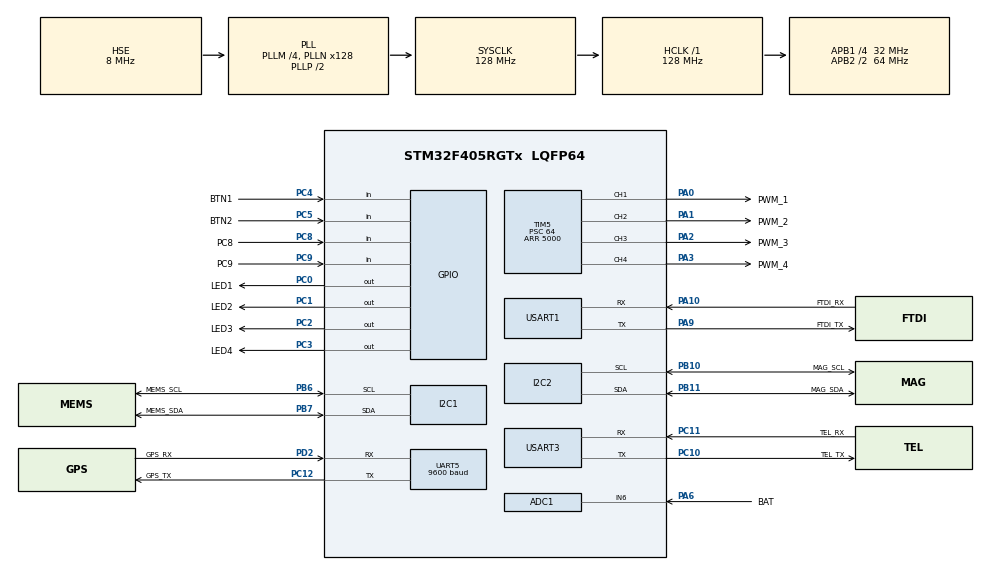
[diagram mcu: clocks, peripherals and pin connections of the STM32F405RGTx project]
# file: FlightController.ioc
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ADC1.Channel-0\#ChannelRegularConversion=ADC_CHANNEL_6
ADC1.ContinuousConvMode=ENABLE
ADC1.DMAContinuousRequests=ENABLE
ADC1.NbrOfConversionFlag=1
ADC1.Rank-0\#ChannelRegularConversion=1
ADC1.SamplingTime-0\#ChannelRegularConversion=ADC_SAMPLETIME_480CYCLES
ADC1.ScanConvMode=ENABLE
ADC1.master=1
Dma.ADC1.0.Direction=DMA_PERIPH_TO_MEMORY
Dma.ADC1.0.FIFOMode=DMA_FIFOMODE_DISABLE
Dma.ADC1.0.Instance=DMA2_Stream0
Dma.ADC1.0.MemDataAlignment=DMA_MDATAALIGN_HALFWORD
Dma.ADC1.0.MemInc=DMA_MINC_ENABLE
Dma.ADC1.0.Mode=DMA_CIRCULAR
Dma.ADC1.0.PeriphDataAlignment=DMA_PDATAALIGN_HALFWORD
Dma.ADC1.0.PeriphInc=DMA_PINC_DISABLE
Dma.ADC1.0.Priority=DMA_PRIORITY_LOW
Dma.Request0=ADC1
Dma.Request1=USART1_RX
Dma.Request2=USART3_RX
Dma.Request3=UART5_RX
Dma.UART5_RX.3.Direction=DMA_PERIPH_TO_MEMORY
Dma.UART5_RX.3.FIFOMode=DMA_FIFOMODE_DISABLE
Dma.UART5_RX.3.Instance=DMA1_Stream0
Dma.UART5_RX.3.MemDataAlignment=DMA_MDATAALIGN_BYTE
Dma.UART5_RX.3.MemInc=DMA_MINC_ENABLE
Dma.UART5_RX.3.Mode=DMA_NORMAL
Dma.UART5_RX.3.PeriphDataAlignment=DMA_PDATAALIGN_BYTE
Dma.UART5_RX.3.PeriphInc=DMA_PINC_DISABLE
Dma.UART5_RX.3.Priority=DMA_PRIORITY_LOW
Dma.USART1_RX.1.Direction=DMA_PERIPH_TO_MEMORY
Dma.USART1_RX.1.FIFOMode=DMA_FIFOMODE_DISABLE
Dma.USART1_RX.1.Instance=DMA2_Stream2
Dma.USART1_RX.1.MemDataAlignment=DMA_MDATAALIGN_BYTE
Dma.USART1_RX.1.MemInc=DMA_MINC_ENABLE
Dma.USART1_RX.1.Mode=DMA_NORMAL
Dma.USART1_RX.1.PeriphDataAlignment=DMA_PDATAALIGN_BYTE
Dma.USART1_RX.1.PeriphInc=DMA_PINC_DISABLE
Dma.USART1_RX.1.Priority=DMA_PRIORITY_LOW
Dma.USART3_RX.2.Direction=DMA_PERIPH_TO_MEMORY
Dma.USART3_RX.2.FIFOMode=DMA_FIFOMODE_DISABLE
Dma.USART3_RX.2.Instance=DMA1_Stream1
Dma.USART3_RX.2.MemDataAlignment=DMA_MDATAALIGN_BYTE
Dma.USART3_RX.2.MemInc=DMA_MINC_ENABLE
Dma.USART3_RX.2.Mode=DMA_NORMAL
Dma.USART3_RX.2.PeriphDataAlignment=DMA_PDATAALIGN_BYTE
Dma.USART3_RX.2.PeriphInc=DMA_PINC_DISABLE
Dma.USART3_RX.2.Priority=DMA_PRIORITY_LOW
FREERTOS.HEAP_NUMBER=4
FREERTOS.INCLUDE_vTaskDelayUntil=1
FREERTOS.Tasks01=defaultTask,0,128,StartDefaultTask,Default,NULL,Dynamic,NULL,NULL
I2C1.I2C_Mode=I2C_Fast
I2C2.I2C_Mode=I2C_Fast
Mcu.Family=STM32F4
Mcu.Name=STM32F405RGTx
Mcu.Package=LQFP64
NVIC.DMA1_Stream0_IRQn=true\:5\:0\:false\:false\:true\:true\:false\:true
NVIC.DMA1_Stream1_IRQn=true\:5\:0\:false\:false\:true\:true\:false\:true
NVIC.DMA2_Stream0_IRQn=true\:5\:0\:false\:false\:true\:true\:false\:true
NVIC.DMA2_Stream2_IRQn=true\:5\:0\:false\:false\:true\:true\:false\:true
NVIC.PriorityGroup=NVIC_PRIORITYGROUP_4
NVIC.TIM6_DAC_IRQn=true\:15\:0\:false\:false\:true\:false\:false\:true
NVIC.TimeBase=TIM6_DAC_IRQn
NVIC.TimeBaseIP=TIM6
NVIC.UART5_IRQn=true\:5\:0\:false\:false\:true\:true\:true\:true
NVIC.USART1_IRQn=true\:5\:0\:false\:false\:true\:true\:true\:true
NVIC.USART3_IRQn=true\:5\:0\:false\:false\:true\:true\:true\:true
PA0-WKUP.GPIO_Label=PWM_1
PA0-WKUP.Signal=S_TIM5_CH1
PA0-WKUP.Stacked=true
PA1.GPIO_Label=PWM_2
PA1.Signal=S_TIM5_CH2
PA10.GPIO_Label=FTDI_RX
PA10.Mode=Asynchronous
PA10.Signal=USART1_RX
PA13.Mode=Serial_Wire
PA13.Signal=SYS_JTMS-SWDIO
PA14.Mode=Serial_Wire
PA14.Signal=SYS_JTCK-SWCLK
PA2.GPIO_Label=PWM_3
PA2.Signal=S_TIM5_CH3
PA3.GPIO_Label=PWM_4
PA3.Signal=S_TIM5_CH4
PA6.GPIO_Label=BAT
PA6.Signal=ADCx_IN6
PA9.GPIO_Label=FTDI_TX
PA9.Mode=Asynchronous
PA9.Signal=USART1_TX
PB10.GPIO_Label=MAG_SCL
PB10.Mode=I2C
PB10.Signal=I2C2_SCL
PB11.GPIO_Label=MAG_SDA
PB11.Mode=I2C
PB11.Signal=I2C2_SDA
PB6.GPIO_Label=MEMS_SCL
PB6.Mode=I2C
PB6.Signal=I2C1_SCL
PB7.GPIO_Label=MEMS_SDA
PB7.Mode=I2C
PB7.Signal=I2C1_SDA
PC0.GPIO_Label=LED1
PC0.PinState=GPIO_PIN_SET
PC0.Signal=GPIO_Output
PC1.GPIO_Label=LED2
PC1.PinState=GPIO_PIN_SET
PC1.Signal=GPIO_Output
PC10.GPIO_Label=TEL_TX
PC10.Mode=Asynchronous
PC10.Signal=USART3_TX
PC11.GPIO_Label=TEL_RX
PC11.Mode=Asynchronous
PC11.Signal=USART3_RX
PC12.GPIO_Label=GPS_TX
PC12.Mode=Asynchronous
PC12.Signal=UART5_TX
PC2.GPIO_Label=LED3
PC2.PinState=GPIO_PIN_SET
PC2.Signal=GPIO_Output
PC3.GPIO_Label=LED4
PC3.PinState=GPIO_PIN_SET
PC3.Signal=GPIO_Output
PC4.GPIO_Label=BTN1
PC4.Signal=GPIO_Input
PC5.GPIO_Label=BTN2
PC5.Signal=GPIO_Input
PC8.GPIO_Label=PC8
PC8.Signal=GPIO_Input
PC9.GPIO_Label=PC9
PC9.Signal=GPIO_Input
PD2.GPIO_Label=GPS_RX
PD2.Mode=Asynchronous
PD2.Signal=UART5_RX
PH0-OSC_IN.Mode=HSE-External-Oscillator
PH0-OSC_IN.Signal=RCC_OSC_IN
PH1-OSC_OUT.Mode=HSE-External-Oscillator
PH1-OSC_OUT.Signal=RCC_OSC_OUT
ProjectManager.HeapSize=0x200
ProjectManager.StackSize=0x400
ProjectManager.TargetToolchain=Makefile
RCC.48MHZClocksFreq_Value=64000000
RCC.AHBFreq_Value=128000000
RCC.APB1CLKDivider=RCC_HCLK_DIV4
RCC.APB1Freq_Value=32000000
RCC.APB1TimFreq_Value=64000000
RCC.APB2CLKDivider=RCC_HCLK_DIV2
RCC.APB2Freq_Value=64000000
RCC.APB2TimFreq_Value=128000000
RCC.CortexFreq_Value=128000000
RCC.HCLKFreq_Value=128000000
RCC.HSE_VALUE=8000000
RCC.HSI_VALUE=16000000
RCC.LSE_VALUE=32768
RCC.PLLM=4
RCC.PLLN=128
RCC.PLLSourceVirtual=RCC_PLLSOURCE_HSE
RCC.SYSCLKFreq_VALUE=128000000
RCC.SYSCLKSource=RCC_SYSCLKSOURCE_PLLCLK
RCC.VCOOutputFreq_Value=256000000
SH.ADCx_IN6.0=ADC1_IN6,IN6
SH.S_TIM5_CH1.0=TIM5_CH1,PWM Generation1 CH1
SH.S_TIM5_CH2.0=TIM5_CH2,PWM Generation2 CH2
SH.S_TIM5_CH3.0=TIM5_CH3,PWM Generation3 CH3
SH.S_TIM5_CH4.0=TIM5_CH4,PWM Generation4 CH4
TIM5.AutoReloadPreload=TIM_AUTORELOAD_PRELOAD_DISABLE
TIM5.Channel-PWM\ Generation1\ CH1=TIM_CHANNEL_1
TIM5.Channel-PWM\ Generation2\ CH2=TIM_CHANNEL_2
TIM5.Channel-PWM\ Generation3\ CH3=TIM_CHANNEL_3
TIM5.Channel-PWM\ Generation4\ CH4=TIM_CHANNEL_4
TIM5.Period=5000
TIM5.Prescaler=64
UART5.BaudRate=9600
UART5.VirtualMode=Asynchronous
USART1.VirtualMode=VM_ASYNC
USART3.VirtualMode=VM_ASYNC
VP_FREERTOS_VS_CMSIS_V1.Mode=CMSIS_V1
VP_SYS_VS_tim6.Mode=TIM6
VP_TIM5_VS_ClockSourceINT.Mode=Internal
board=custom

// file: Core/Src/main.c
/* USER CODE BEGIN Header */
/**
 ******************************************************************************
 * @file           : main.c
 * @brief          : Main program body
 ******************************************************************************
 * @attention
 *
 * <h2><center>&copy; Copyright (c) 2022 STMicroelectronics.
 * All rights reserved.</center></h2>
 *
 * This software component is licensed by ST under BSD 3-Clause license,
 * the "License"; You may not use this file except in compliance with the
 * License. You may obtain a copy of the License at:
 *                        opensource.org/licenses/BSD-3-Clause
 *
 ******************************************************************************
 */
/* USER CODE END Header */
#include "main.h"

/* USER CODE BEGIN Includes */
#include "RemoteControl.h"
// FreeRTOS
#include "FreeRTOS.h"
#include "event_groups.h"
#include "queue.h"
#include "semphr.h"
#include "stdio.h"
#include "task.h"
#include "timers.h"
// MEMS
#include "PID_PWM.h"
#include "sensors.h"
/* USER CODE END Includes */

/* USER CODE BEGIN PD */
#define dt 0.004f
#define TUNE_PID 0

/* USER CODE END PD */

ADC_HandleTypeDef hadc1;
DMA_HandleTypeDef hdma_adc1;

I2C_HandleTypeDef hi2c1;
I2C_HandleTypeDef hi2c2;

TIM_HandleTypeDef htim5;

UART_HandleTypeDef huart5;
UART_HandleTypeDef huart1;
UART_HandleTypeDef huart3;
DMA_HandleTypeDef hdma_uart5_rx;
DMA_HandleTypeDef hdma_usart1_rx;
DMA_HandleTypeDef hdma_usart3_rx;

/* USER CODE BEGIN PV */
uint8_t count = 0;

TaskHandle_t DefaultTask;
TaskHandle_t LoopTask;
TaskHandle_t GpsTask;
TaskHandle_t ControlTask;
TaskHandle_t FeedbackTask;
TaskHandle_t CalibrationTask;

RingBuffer_t Ring;
Sensor_handle_t sensors;
ControlHandler_t Control;
ControlInit_t ControlInit;
PIDPWMHandle_t PID;

uint16_t AdcBatValue;

/* USER CODE END PV */

void SystemClock_Config(void);
static void MX_GPIO_Init(void);
static void MX_USART1_UART_Init(void);
static void MX_DMA_Init(void);
static void MX_ADC1_Init(void);
static void MX_I2C1_Init(void);
static void MX_I2C2_Init(void);
static void MX_TIM5_Init(void);
static void MX_USART3_UART_Init(void);
static void MX_UART5_Init(void);

/* USER CODE BEGIN PFP */
int _write(int file, char *outgoing, int len);
void Default_task(void *pvParameters);
void Loop_task(void *pvParameters);
void GPS_task(void *pvParameters);
void Control_task(void *pvParameters);
void Feedback_task(void *pvParameters);
void Calibration_task(void *pvParameters);

/// Support function
void check_motor_vibrations(void);
/* USER CODE END PFP */

int main(void) {

    /* MCU
     * Configuration--------------------------------------------------------*/

    /* Reset of all peripherals, Initializes the Flash interface and the
     * Systick. */
    HAL_Init();

    /* Configure the system clock */
    SystemClock_Config();

    /* Initialize all configured peripherals */
    MX_GPIO_Init();
    MX_DMA_Init();
    MX_ADC1_Init();
    MX_I2C1_Init();
    MX_I2C2_Init();
    MX_TIM5_Init();
    MX_USART1_UART_Init();
    MX_USART3_UART_Init();
    MX_UART5_Init();
    /* USER CODE BEGIN 2 */
    HAL_ADC_Start_DMA(&hadc1, (uint32_t *)&AdcBatValue, 1);
    HAL_TIM_PWM_Start(&htim5, TIM_CHANNEL_1);
    HAL_TIM_PWM_Start(&htim5, TIM_CHANNEL_2);
    HAL_TIM_PWM_Start(&htim5, TIM_CHANNEL_3);
    HAL_TIM_PWM_Start(&htim5, TIM_CHANNEL_4);
    htim5.Instance->CCR1 = 1000;
    htim5.Instance->CCR2 = 1000;
    htim5.Instance->CCR3 = 1000;
    htim5.Instance->CCR4 = 1000;
    HAL_Delay(200);
    // Init for Ring Buffer. Must be called first
    Ring.Ring1.enable = true;
    Ring.Ring2.enable = true;
    Ring.Ring3.enable = true;
    Ring.Ring1.hdma = &hdma_usart1_rx;
    Ring.Ring1.huart = &huart1;
    Ring.Ring2.hdma = &hdma_usart3_rx;
    Ring.Ring2.huart = &huart3;
    Ring.Ring3.hdma = &hdma_uart5_rx;
    Ring.Ring3.huart = &huart5;
    Ring.GetTime = xTaskGetTickCount;
    // Init for sensors
    sensors.hmchi2c = &hi2c2;
    sensors.mpuhi2c = &hi2c1;
    sensors.mshi2c = &hi2c1;
    sensors.gpsRing = &Ring.Ring3;
    sensors.msHandler.wait = vTaskDelay;
    // Init compass calibration
    // sensors.hmcHandler.OffsetScale.offset_x = -128;
    // sensors.hmcHandler.OffsetScale.offset_y = -160;
    // sensors.hmcHandler.OffsetScale.offset_z = 117;
    // sensors.hmcHandler.OffsetScale.scale_y = 1.051408;
    // sensors.hmcHandler.OffsetScale.scale_z = 1.149933;
    sensors.hmcHandler.OffsetScale.compass_cal_values[0] = -302;
    sensors.hmcHandler.OffsetScale.compass_cal_values[1] = 557;
    sensors.hmcHandler.OffsetScale.compass_cal_values[2] = -256;
    sensors.hmcHandler.OffsetScale.compass_cal_values[3] = 561;
    sensors.hmcHandler.OffsetScale.compass_cal_values[4] = -476;
    sensors.hmcHandler.OffsetScale.compass_cal_values[5] = 271;
    sensors.hmcHandler.OffsetScale.declination = 0;
    // Calibration value for gyroscope
    sensors.mpuHandler.GyroOffset.x = 125;
    sensors.mpuHandler.GyroOffset.y = 6;
    sensors.mpuHandler.GyroOffset.z = -46;
    // Calibration value for Accelerometer
    sensors.mpuHandler.AccOffset.x = 114;
    sensors.mpuHandler.AccOffset.y = -46;
    sensors.mpuHandler.AccOffset.z = 0;
    // Init for calibration Task
    sensors.Calibration.GetTime = &xTaskGetTickCount;
    sensors.Calibration.wait = &vTaskDelay;
    sensors.Calibration.waitUntil = &vTaskDelayUntil;
    sensors.Calibration.ThrustChannel = &Control.Control.JoyStick.Thrust;
    // Init for ADC Battery Voltage reading
    sensors.AdcBat = &AdcBatValue;
// Init for Remote Control
#if MOTOR_CONFIG == 0
    ControlInit.Mode = BLOCK_MODE;
#else
    ControlInit.Mode = MANUAL_MODE;
#endif
    ControlInit.SensorsParameter = &sensors.Angle;
    ControlInit.Serial = &Ring.Ring2;
    ControlInit.Joystick.Pitch = 1500;
    ControlInit.Joystick.Roll = 1500;
    ControlInit.Joystick.Yaw = 1500;
    ControlInit.Joystick.Thrust = 1000;
#if TUNE_PID == 0
    ControlInit.ControlPid.Pitch.P = 1.3;
    ControlInit.ControlPid.Pitch.I = 0.04;
    ControlInit.ControlPid.Pitch.D = 18.0;
    ControlInit.ControlPid.Roll.P = 1.3;
    ControlInit.ControlPid.Roll.I = 0.04;
    ControlInit.ControlPid.Roll.D = 18.0;
    ControlInit.ControlPid.Yaw.P = 4;
    ControlInit.ControlPid.Yaw.I = 0.02;
    ControlInit.ControlPid.Yaw.D = 0.0;
#else
#endif
    ControlInit.ControlPid.Pitch.MaxPID = 400;
    ControlInit.ControlPid.Roll.MaxPID = 400;
    ControlInit.ControlPid.Yaw.MaxPID = 400;
    // Initialize for PID
    PID.htim = &htim5;
    PID.Control = &Control.Control;
    PID.Angle = &sensors.mpuHandler;
    PID.Mode = &Control.Mode;
    // Calibration value Initialize
    Ring_Init(&Ring);
    // The Remote Control Function must be called after the Ring Init
    Control_Init(&Control, ControlInit);
    // Init function for the sensors
    sensors_init(&sensors);
    // Init PID
    PIDPWM_Init(&PID);

    if (sensors.status != SENSOR_OK) {
        HAL_GPIO_WritePin(LED4_GPIO_Port, LED4_Pin, 0);
        printf("Sensors error:%d\r\n", sensors.status);
        while (1)
            ;
    }
    HAL_GPIO_WritePin(LED3_GPIO_Port, LED3_Pin, 1);
    xTaskCreate(&Default_task, "Default", 512, NULL, 1, &DefaultTask);
    // Start Scheduler
    vTaskStartScheduler();
    /* USER CODE END 2 */

    /* We should never get here as control is now taken by the scheduler */
    /* Infinite loop */
    while (1) {

    }
}

void SystemClock_Config(void) {
    RCC_OscInitTypeDef RCC_OscInitStruct = {0};
    RCC_ClkInitTypeDef RCC_ClkInitStruct = {0};

    /** Configure the main internal regulator output voltage
     */
    __HAL_RCC_PWR_CLK_ENABLE();
    __HAL_PWR_VOLTAGESCALING_CONFIG(PWR_REGULATOR_VOLTAGE_SCALE1);
    /** Initializes the RCC Oscillators according to the specified parameters
     * in the RCC_OscInitTypeDef structure.
     */
    RCC_OscInitStruct.OscillatorType = RCC_OSCILLATORTYPE_HSE;
    RCC_OscInitStruct.HSEState = RCC_HSE_ON;
    RCC_OscInitStruct.PLL.PLLState = RCC_PLL_ON;
    RCC_OscInitStruct.PLL.PLLSource = RCC_PLLSOURCE_HSE;
    RCC_OscInitStruct.PLL.PLLM = 4;
    RCC_OscInitStruct.PLL.PLLN = 128;
    RCC_OscInitStruct.PLL.PLLP = RCC_PLLP_DIV2;
    RCC_OscInitStruct.PLL.PLLQ = 4;
    if (HAL_RCC_OscConfig(&RCC_OscInitStruct) != HAL_OK) {
        Error_Handler();
    }
    /** Initializes the CPU, AHB and APB buses clocks
     */
    RCC_ClkInitStruct.ClockType = RCC_CLOCKTYPE_HCLK | RCC_CLOCKTYPE_SYSCLK |
                                  RCC_CLOCKTYPE_PCLK1 | RCC_CLOCKTYPE_PCLK2;
    RCC_ClkInitStruct.SYSCLKSource = RCC_SYSCLKSOURCE_PLLCLK;
    RCC_ClkInitStruct.AHBCLKDivider = RCC_SYSCLK_DIV1;
    RCC_ClkInitStruct.APB1CLKDivider = RCC_HCLK_DIV4;
    RCC_ClkInitStruct.APB2CLKDivider = RCC_HCLK_DIV2;

    if (HAL_RCC_ClockConfig(&RCC_ClkInitStruct, FLASH_LATENCY_4) != HAL_OK) {
        Error_Handler();
    }
}

static void MX_ADC1_Init(void) {

    ADC_ChannelConfTypeDef sConfig = {0};

    /** Configure the global features of the ADC (Clock, Resolution, Data
     * Alignment and number of conversion)
     */
    hadc1.Instance = ADC1;
    hadc1.Init.ClockPrescaler = ADC_CLOCK_SYNC_PCLK_DIV2;
    hadc1.Init.Resolution = ADC_RESOLUTION_12B;
    hadc1.Init.ScanConvMode = ENABLE;
    hadc1.Init.ContinuousConvMode = ENABLE;
    hadc1.Init.DiscontinuousConvMode = DISABLE;
    hadc1.Init.ExternalTrigConvEdge = ADC_EXTERNALTRIGCONVEDGE_NONE;
    hadc1.Init.ExternalTrigConv = ADC_SOFTWARE_START;
    hadc1.Init.DataAlign = ADC_DATAALIGN_RIGHT;
    hadc1.Init.NbrOfConversion = 1;
    hadc1.Init.DMAContinuousRequests = ENABLE;
    hadc1.Init.EOCSelection = ADC_EOC_SINGLE_CONV;
    if (HAL_ADC_Init(&hadc1) != HAL_OK) {
        Error_Handler();
    }
    /** Configure for the selected ADC regular channel its corresponding rank in
     * the sequencer and its sample time.
     */
    sConfig.Channel = ADC_CHANNEL_6;
    sConfig.Rank = 1;
    sConfig.SamplingTime = ADC_SAMPLETIME_480CYCLES;
    if (HAL_ADC_ConfigChannel(&hadc1, &sConfig) != HAL_OK) {
        Error_Handler();
    }
}

static void MX_I2C1_Init(void) {

    hi2c1.Instance = I2C1;
    hi2c1.Init.ClockSpeed = 400000;
    hi2c1.Init.DutyCycle = I2C_DUTYCYCLE_2;
    hi2c1.Init.OwnAddress1 = 0;
    hi2c1.Init.AddressingMode = I2C_ADDRESSINGMODE_7BIT;
    hi2c1.Init.DualAddressMode = I2C_DUALADDRESS_DISABLE;
    hi2c1.Init.OwnAddress2 = 0;
    hi2c1.Init.GeneralCallMode = I2C_GENERALCALL_DISABLE;
    hi2c1.Init.NoStretchMode = I2C_NOSTRETCH_DISABLE;
    if (HAL_I2C_Init(&hi2c1) != HAL_OK) {
        Error_Handler();
    }
}

static void MX_I2C2_Init(void) {

    hi2c2.Instance = I2C2;
    hi2c2.Init.ClockSpeed = 400000;
    hi2c2.Init.DutyCycle = I2C_DUTYCYCLE_2;
    hi2c2.Init.OwnAddress1 = 0;
    hi2c2.Init.AddressingMode = I2C_ADDRESSINGMODE_7BIT;
    hi2c2.Init.DualAddressMode = I2C_DUALADDRESS_DISABLE;
    hi2c2.Init.OwnAddress2 = 0;
    hi2c2.Init.GeneralCallMode = I2C_GENERALCALL_DISABLE;
    hi2c2.Init.NoStretchMode = I2C_NOSTRETCH_DISABLE;
    if (HAL_I2C_Init(&hi2c2) != HAL_OK) {
        Error_Handler();
    }
}

static void MX_TIM5_Init(void) {

    TIM_ClockConfigTypeDef sClockSourceConfig = {0};
    TIM_MasterConfigTypeDef sMasterConfig = {0};
    TIM_OC_InitTypeDef sConfigOC = {0};

    htim5.Instance = TIM5;
    htim5.Init.Prescaler = 64;
    htim5.Init.CounterMode = TIM_COUNTERMODE_UP;
    htim5.Init.Period = 5000;
    htim5.Init.ClockDivision = TIM_CLOCKDIVISION_DIV1;
    htim5.Init.AutoReloadPreload = TIM_AUTORELOAD_PRELOAD_DISABLE;
    if (HAL_TIM_Base_Init(&htim5) != HAL_OK) {
        Error_Handler();
    }
    sClockSourceConfig.ClockSource = TIM_CLOCKSOURCE_INTERNAL;
    if (HAL_TIM_ConfigClockSource(&htim5, &sClockSourceConfig) != HAL_OK) {
        Error_Handler();
    }
    if (HAL_TIM_PWM_Init(&htim5) != HAL_OK) {
        Error_Handler();
    }
    sMasterConfig.MasterOutputTrigger = TIM_TRGO_RESET;
    sMasterConfig.MasterSlaveMode = TIM_MASTERSLAVEMODE_DISABLE;
    if (HAL_TIMEx_MasterConfigSynchronization(&htim5, &sMasterConfig) !=
        HAL_OK) {
        Error_Handler();
    }
    sConfigOC.OCMode = TIM_OCMODE_PWM1;
    sConfigOC.Pulse = 0;
    sConfigOC.OCPolarity = TIM_OCPOLARITY_HIGH;
    sConfigOC.OCFastMode = TIM_OCFAST_DISABLE;
    if (HAL_TIM_PWM_ConfigChannel(&htim5, &sConfigOC, TIM_CHANNEL_1) !=
        HAL_OK) {
        Error_Handler();
    }
    if (HAL_TIM_PWM_ConfigChannel(&htim5, &sConfigOC, TIM_CHANNEL_2) !=
        HAL_OK) {
        Error_Handler();
    }
    if (HAL_TIM_PWM_ConfigChannel(&htim5, &sConfigOC, TIM_CHANNEL_3) !=
        HAL_OK) {
        Error_Handler();
    }
    if (HAL_TIM_PWM_ConfigChannel(&htim5, &sConfigOC, TIM_CHANNEL_4) !=
        HAL_OK) {
        Error_Handler();
    }
    HAL_TIM_MspPostInit(&htim5);
}

static void MX_UART5_Init(void) {

    huart5.Instance = UART5;
    huart5.Init.BaudRate = 9600;
    huart5.Init.WordLength = UART_WORDLENGTH_8B;
    huart5.Init.StopBits = UART_STOPBITS_1;
    huart5.Init.Parity = UART_PARITY_NONE;
    huart5.Init.Mode = UART_MODE_TX_RX;
    huart5.Init.HwFlowCtl = UART_HWCONTROL_NONE;
    huart5.Init.OverSampling = UART_OVERSAMPLING_16;
    if (HAL_UART_Init(&huart5) != HAL_OK) {
        Error_Handler();
    }
}

static void MX_USART1_UART_Init(void) {

    huart1.Instance = USART1;
    huart1.Init.BaudRate = 115200;
    huart1.Init.WordLength = UART_WORDLENGTH_8B;
    huart1.Init.StopBits = UART_STOPBITS_1;
    huart1.Init.Parity = UART_PARITY_NONE;
    huart1.Init.Mode = UART_MODE_TX_RX;
    huart1.Init.HwFlowCtl = UART_HWCONTROL_NONE;
    huart1.Init.OverSampling = UART_OVERSAMPLING_16;
    if (HAL_UART_Init(&huart1) != HAL_OK) {
        Error_Handler();
    }
}

static void MX_USART3_UART_Init(void) {

    huart3.Instance = USART3;
    huart3.Init.BaudRate = 115200;
    huart3.Init.WordLength = UART_WORDLENGTH_8B;
    huart3.Init.StopBits = UART_STOPBITS_1;
    huart3.Init.Parity = UART_PARITY_NONE;
    huart3.Init.Mode = UART_MODE_TX_RX;
    huart3.Init.HwFlowCtl = UART_HWCONTROL_NONE;
    huart3.Init.OverSampling = UART_OVERSAMPLING_16;
    if (HAL_UART_Init(&huart3) != HAL_OK) {
        Error_Handler();
    }
}

static void MX_DMA_Init(void) {
    /* DMA controller clock enable */
    __HAL_RCC_DMA2_CLK_ENABLE();
    __HAL_RCC_DMA1_CLK_ENABLE();

    /* DMA interrupt init */
    /* DMA1_Stream0_IRQn interrupt configuration */
    HAL_NVIC_SetPriority(DMA1_Stream0_IRQn, 5, 0);
    HAL_NVIC_EnableIRQ(DMA1_Stream0_IRQn);
    /* DMA1_Stream1_IRQn interrupt configuration */
    HAL_NVIC_SetPriority(DMA1_Stream1_IRQn, 5, 0);
    HAL_NVIC_EnableIRQ(DMA1_Stream1_IRQn);
    /* DMA2_Stream0_IRQn interrupt configuration */
    HAL_NVIC_SetPriority(DMA2_Stream0_IRQn, 5, 0);
    HAL_NVIC_EnableIRQ(DMA2_Stream0_IRQn);
    /* DMA2_Stream2_IRQn interrupt configuration */
    HAL_NVIC_SetPriority(DMA2_Stream2_IRQn, 5, 0);
    HAL_NVIC_EnableIRQ(DMA2_Stream2_IRQn);
}

static void MX_GPIO_Init(void) {
    GPIO_InitTypeDef GPIO_InitStruct = {0};

    /* GPIO Ports Clock Enable */
    __HAL_RCC_GPIOH_CLK_ENABLE();
    __HAL_RCC_GPIOC_CLK_ENABLE();
    __HAL_RCC_GPIOA_CLK_ENABLE();
    __HAL_RCC_GPIOB_CLK_ENABLE();
    __HAL_RCC_GPIOD_CLK_ENABLE();

    /*Configure GPIO pin Output Level */
    HAL_GPIO_WritePin(GPIOC, LED1_Pin | LED2_Pin | LED3_Pin | LED4_Pin,
                      GPIO_PIN_SET);

    /*Configure GPIO pins : LED1_Pin LED2_Pin LED3_Pin LED4_Pin */
    GPIO_InitStruct.Pin = LED1_Pin | LED2_Pin | LED3_Pin | LED4_Pin;
    GPIO_InitStruct.Mode = GPIO_MODE_OUTPUT_PP;
    GPIO_InitStruct.Pull = GPIO_NOPULL;
    GPIO_InitStruct.Speed = GPIO_SPEED_FREQ_LOW;
    HAL_GPIO_Init(GPIOC, &GPIO_InitStruct);

    /*Configure GPIO pins : BTN1_Pin BTN2_Pin PC8_Pin PC9_Pin */
    GPIO_InitStruct.Pin = BTN1_Pin | BTN2_Pin | PC8_Pin | PC9_Pin;
    GPIO_InitStruct.Mode = GPIO_MODE_INPUT;
    GPIO_InitStruct.Pull = GPIO_NOPULL;
    HAL_GPIO_Init(GPIOC, &GPIO_InitStruct);
}

/* USER CODE BEGIN 4 */
int _write(int file, char *outgoing, int len) {
    HAL_UART_Transmit(&huart1, (uint8_t *)outgoing, len, 100);
    return len;
}

void Default_task(void *pvParameters) {
    printf("*** Welcome to Flight Controller Software ***\r\n");
    // xTaskCreate(&GPS_task, "Gps", 512, NULL, 2, &GpsTask);
    xTaskCreate(&Loop_task, "Loop", 256, NULL, 4, &LoopTask);
    xTaskCreate(&Control_task, "Control", 512, NULL, 3, &ControlTask);
    xTaskCreate(&Feedback_task, "FeedBack", 256, NULL, 2, &FeedbackTask);
    vTaskDelete(DefaultTask);
    for (;;) {
    }
}

void Loop_task(void *pvParameters) {
    TickType_t StartTask = xTaskGetTickCount();
    uint32_t count = 0;
    for (;;) {
        count++;
        sensors_update(&sensors);
        PIDPWM_Process();
        if (sensors.status != SENSOR_OK) {
            printf("The Sensors error:%d\r\n", sensors.status);
        } else {
            if (count > 20) {
                count = 0;
                HAL_GPIO_TogglePin(LED3_GPIO_Port, LED3_Pin);
            } else {
            }
        }
#if MOTOR_CONFIG == 1
        check_motor_vibrations();
#endif
        // Detect calibration
        if (Control.Control.JoyStick.Thrust < 1020) {
            if (Control.Control.JoyStick.Yaw > 1900 &&
                Control.Control.JoyStick.Roll > 1800 &&
                Control.Control.JoyStick.Pitch > 1800) {
                xTaskCreate(&Calibration_task, "Calibration", 256, NULL, 3,
                            &CalibrationTask);
                vTaskSuspend(NULL);
                // Wait Until the calibration task resume this task again
                StartTask = xTaskGetTickCount();
            }
        }
        vTaskDelayUntil(&StartTask, 4);
    }
}

void GPS_task(void *pvParameters) {
    TickType_t StartTask = xTaskGetTickCount();
    for (;;) {
        if (Sensor_Gps_Update(&sensors) == SENSOR_OK) {
            GpsHandler_t GpsHandler = sensors.gpsHandler;
            HAL_GPIO_TogglePin(LED1_GPIO_Port, LED1_Pin);
            printf("Time:%dh %dm %ds\r\n", GpsHandler.Position.Time.Hour,
                   GpsHandler.Position.Time.Minute,
                   GpsHandler.Position.Time.Seconds);
            printf("Lat:%f, Long:%f, Fixed:%d, Satellites:%d\r\n",
                   GpsHandler.Position.Latitude, GpsHandler.Position.Longitude,
                   GpsHandler.Position.Fixed, GpsHandler.Position.Sattellites);
        } else if (sensors.gpsHandler.Status == GPS_NOTFIXED) {
            GpsHandler_t GpsHandler = sensors.gpsHandler;
            printf("Time:%dh %dm %ds\r\n", GpsHandler.Position.Time.Hour,
                   GpsHandler.Position.Time.Minute,
                   GpsHandler.Position.Time.Seconds);
        } else {
            printf("Error:%d\r\n", sensors.gpsHandler.Status);
        }
        HAL_GPIO_TogglePin(LED2_GPIO_Port, LED2_Pin);
        vTaskDelayUntil(&StartTask, 1000);
    }
}

void Control_task(void *pvParameters) {
    static int count = 0;
    TickType_t StartTask = xTaskGetTickCount();
    static int LostMonitoring = 0;
    for (;;) {
        ControlStatus_t Status = Control_Process();
        LostMonitoring++;
        if (Status == CONTROL_OK) {
            count++;
            if (count > 10) {
                count = 0;
                HAL_GPIO_TogglePin(LED2_GPIO_Port, LED2_Pin);
            }
            LostMonitoring = 0;
        }
        // Lost Connection decide
        if (LostMonitoring > 100 && Control.Mode != BLOCK_MODE) {
            Control.Mode = LOST_MODE;
        }
        vTaskDelayUntil(&StartTask, 10);
    }
}

void Feedback_task(void *pvParameters) {
    uint8_t AckId = 0;
    TickType_t StartTask = xTaskGetTickCount();
    vTaskDelay(200);
    for (;;) {
        if (AckId == 0) {
            Control_Feedback_Mode();
            AckId++;
        } else if (AckId == 1) {
            Control_Feedback_VBat();
            AckId++;
        } else if (AckId == 2) {
            Control_Feedback_Angle();
            AckId = 0;
        }
        vTaskDelayUntil(&StartTask, 200);
    }
}

void Calibration_task(void *pvParameters) {
    HAL_GPIO_WritePin(LED1_GPIO_Port, LED1_Pin | LED3_Pin | LED4_Pin,
                      GPIO_PIN_SET);
    printf("** In the calibration mode **\r\n");
    for (int i = 0; i < 10; i++) {
        HAL_GPIO_TogglePin(LED1_GPIO_Port, LED1_Pin);
        vTaskDelay(200);
    }
    for (;;) {
        // Gyro Calibration - Yaw right
        if (Control.Control.JoyStick.Thrust > 1800 &&
            Control.Control.JoyStick.Yaw < 1060) {  // Yaw right
            sensors.Calibration.StartTask = xTaskGetTickCount();
            HAL_GPIO_WritePin(LED1_GPIO_Port, LED1_Pin | LED3_Pin,
                              GPIO_PIN_SET);
            Sensor_Gyro_Calibration(&sensors);
            printf("* Gyro offset:x=%d,y=%d,z=%d\r\n",
                   sensors.mpuHandler.GyroOffset.x,
                   sensors.mpuHandler.GyroOffset.y,
                   sensors.mpuHandler.GyroOffset.z);
            HAL_GPIO_WritePin(LED1_GPIO_Port, LED1_Pin | LED3_Pin,
                              GPIO_PIN_SET);
            while (Control.Control.JoyStick.Thrust >= 1030) {
                HAL_GPIO_WritePin(LED1_GPIO_Port, LED1_Pin, GPIO_PIN_RESET);
                vTaskDelay(500);
                HAL_GPIO_WritePin(LED1_GPIO_Port, LED1_Pin, GPIO_PIN_SET);
                vTaskDelay(200);
            }
        }
        // Accelerometer Calibration - Roll right
        if (Control.Control.JoyStick.Thrust > 1800 &&
            Control.Control.JoyStick.Roll > 1900) {  // Roll right
            sensors.Calibration.StartTask = xTaskGetTickCount();
            HAL_GPIO_WritePin(LED1_GPIO_Port, LED1_Pin | LED3_Pin,
                              GPIO_PIN_SET);
            Sensor_Acce_Calibration(&sensors);
            HAL_GPIO_WritePin(LED1_GPIO_Port, LED1_Pin | LED3_Pin | LED4_Pin,
                              GPIO_PIN_SET);
            printf("* Accelerometer offset:x=%d,y=%d\r\n",
                   sensors.mpuHandler.AccOffset.x,
                   sensors.mpuHandler.AccOffset.y);
            while (Control.Control.JoyStick.Thrust >= 1030) {
                HAL_GPIO_WritePin(LED1_GPIO_Port, LED1_Pin, GPIO_PIN_RESET);
                vTaskDelay(1000);
                HAL_GPIO_WritePin(LED1_GPIO_Port, LED1_Pin, GPIO_PIN_SET);
                vTaskDelay(500);
            }
        }
        // Compass Calibration - Yaw left
        if (Control.Control.JoyStick.Thrust > 1800 &&
            Control.Control.JoyStick.Yaw > 1900) {  // Yaw left
            sensors.Calibration.StartTask = xTaskGetTickCount();
            HAL_GPIO_WritePin(LED1_GPIO_Port, LED1_Pin | LED3_Pin,
                              GPIO_PIN_SET);
            Sensor_Compass_Calibration(&sensors);
            HAL_GPIO_WritePin(LED1_GPIO_Port, LED1_Pin | LED3_Pin | LED4_Pin,
                              GPIO_PIN_SET);
            printf("* Compass:sy=%f,sz=%f,ox=%d,oy=%d,oz=%d\r\n",
                   sensors.hmcHandler.OffsetScale.scale_y,
                   sensors.hmcHandler.OffsetScale.scale_z,
                   sensors.hmcHandler.OffsetScale.offset_x,
                   sensors.hmcHandler.OffsetScale.offset_y,
                   sensors.hmcHandler.OffsetScale.offset_z);
            while (Control.Control.JoyStick.Thrust >= 1030) {
                HAL_GPIO_WritePin(LED1_GPIO_Port, LED1_Pin, GPIO_PIN_RESET);
                vTaskDelay(1000);
                HAL_GPIO_WritePin(LED1_GPIO_Port, LED1_Pin, GPIO_PIN_SET);
                vTaskDelay(500);
            }
        }
        if (Control.Control.JoyStick.Thrust < 1030 &&
            Control.Control.JoyStick.Yaw > 1900) {  // Yaw left
            HAL_GPIO_WritePin(LED1_GPIO_Port, LED1_Pin | LED3_Pin,
                              GPIO_PIN_SET);
            vTaskResume(LoopTask);
            vTaskDelete(CalibrationTask);
        }
        HAL_GPIO_TogglePin(LED1_GPIO_Port, LED1_Pin | LED3_Pin);
        vTaskDelay(200);
    }
}

void check_motor_vibrations(void) {
    // Let's declare some variables so we can use them in this subroutine.
    // int16_t = signed 16 bit integer
    // uint16_t = unsigned 16 bit integer
    static int32_t vibration_array[20], avarage_vibration_level,
        vibration_total_result;
    static uint8_t array_counter,
        vibration_counter;  // If the throttle is detected in the lowest
                            // position. Get the raw gyro and accelerometer
                            // data.
    // Calculate the total accelerometer vector.
    vibration_array[0] = sensors.mpuHandler.AccRaw.totalVector;

    for (array_counter = 16; array_counter > 0;
         array_counter--) {  // Do this loop 16 times to create an array of
                             // accelrometer vectors.
        vibration_array[array_counter] =
            vibration_array[array_counter - 1];  // Shift every variable one
                                                 // position up in the array.
        avarage_vibration_level +=
            vibration_array[array_counter];  // Add the array value to the
                                             // acc_av_vector variable.
    }
    avarage_vibration_level /= 17;  // Divide the acc_av_vector by 17 to get the
                                    // avarage total accelerometer vector.

    if (vibration_counter <
        20) {  // If the vibration_counter is less than 20 do this.
        vibration_counter++;  // Increment the vibration_counter variable.
        vibration_total_result +=
            abs(vibration_array[0] -
                avarage_vibration_level);  // Add the absolute difference
                                           // between the avarage vector and
                                           // current vector to the
                                           // vibration_total_result variable.
    } else {
        vibration_counter =
            0;  // If the vibration_counter is equal or larger than 20 do this.
        printf("Vibration=%ld\r\n", vibration_total_result / 50);
        vibration_total_result =
            0;  // Reset the vibration_total_result variable.
    }           // Print the intro to the serial monitor.
}
/* USER CODE END 4 */

void HAL_TIM_PeriodElapsedCallback(TIM_HandleTypeDef *htim) {
    if (htim->Instance == TIM6) {
        HAL_IncTick();
    }
}

void Error_Handler(void) {
    /* USER CODE BEGIN Error_Handler_Debug */
    /* User can add his own implementation to report the HAL error return state
     */
    __disable_irq();
    while (1) {
    }
    /* USER CODE END Error_Handler_Debug */
}

#ifdef USE_FULL_ASSERT
/**
 * @brief  Reports the name of the source file and the source line number
 *         where the assert_param error has occurred.
 * @param  file: pointer to the source file name
 * @param  line: assert_param error line source number
 * @retval None
 */
void assert_failed(uint8_t *file, uint32_t line) {
    /* USER CODE BEGIN 6 */
    /* User can add his own implementation to report the file name and line
       number, ex: printf("Wrong parameters value: file %s on line %d\r\n",
       file, line) */
    /* USER CODE END 6 */
}
#endif /* USE_FULL_ASSERT */
